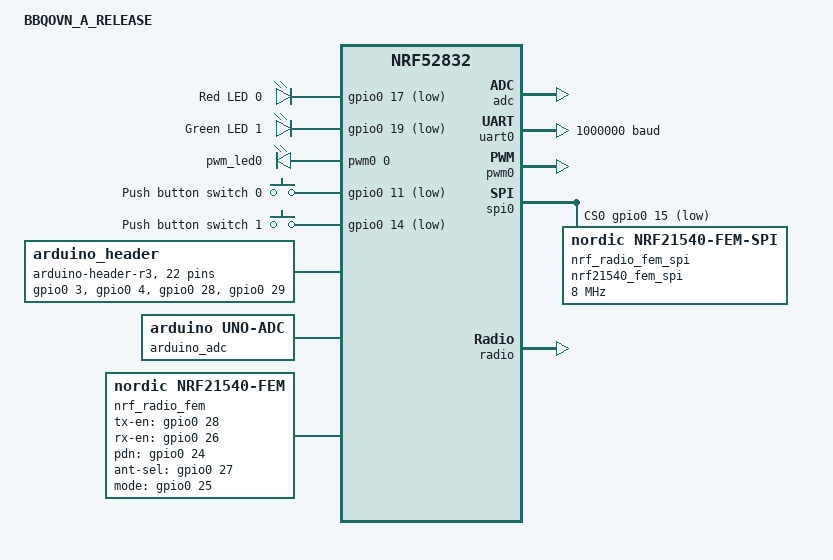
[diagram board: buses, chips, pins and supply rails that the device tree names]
// Copyright (c) 2023 Nordic Semiconductor ASA
// SPDX-License-Identifier: Apache-2.0

/dts-v1/;
#include <nordic/nrf52832_qfaa.dtsi>
#include "bbqovn_a_release-pinctrl.dtsi"

/ {
	model = "BBQOVN_A_RELEASE";
	compatible = "dx-smart,bbqovn-a";

	chosen {
		zephyr,console = &uart0;
		zephyr,shell-uart = &uart0;
		zephyr,uart-mcumgr = &uart0;
		zephyr,bt-mon-uart = &uart0;
		zephyr,bt-c2h-uart = &uart0;
		zephyr,sram = &sram0;
		zephyr,flash = &flash0;
		zephyr,code-partition = &slot0_partition;
	};

	leds {
		compatible = "gpio-leds";
		led0: led_0 {
			gpios = <&gpio0 17 (GPIO_ACTIVE_LOW)>;
			label = "Red LED 0";
		};
		led1: led_1 {
			gpios = <&gpio0 19 (GPIO_ACTIVE_LOW)>;
			label = "Green LED 1";
		};
	};

	pwmleds {
		compatible = "pwm-leds";
		pwm_led0: pwm_led_0 {
			pwms = <&pwm0 0 PWM_USEC(250) PWM_POLARITY_NORMAL>;
		};
	};

	buttons {
		compatible = "gpio-keys";
		button0: button_0 {
			gpios = <&gpio0 11 (GPIO_ACTIVE_LOW)>;
			label = "Push button switch 0";
		};
		button1: button_1 {
			gpios = <&gpio0 14 (GPIO_PULL_UP | GPIO_ACTIVE_LOW)>;
			label = "Push button switch 1";
		};

		wakeup-source;
	};

	arduino_header: connector {
		compatible = "arduino-header-r3";
		#gpio-cells = <2>;
		gpio-map-mask = <0xffffffff 0xffffffc0>;
		gpio-map-pass-thru = <0 0x3f>;
		gpio-map = <0 0 &gpio0 3 0>,
			 <1 0 &gpio0 4 0>,
			 <2 0 &gpio0 28 0>,
			 <3 0 &gpio0 29 0>,
			 <4 0 &gpio0 30 0>,
			 <5 0 &gpio0 31 0>,
			 <6 0 &gpio0 11 0>,
			 <7 0 &gpio0 12 0>,
			 <8 0 &gpio0 13 0>,
			 <9 0 &gpio0 14 0>,
			 <10 0 &gpio0 15 0>,
			 <11 0 &gpio0 16 0>,
			 <12 0 &gpio0 17 0>,
			 <13 0 &gpio0 18 0>,
			 <14 0 &gpio0 19 0>,
			 <15 0 &gpio0 20 0>,
			 <16 0 &gpio0 22 0>,
			 <17 0 &gpio0 23 0>,
			 <18 0 &gpio0 24 0>,
			 <19 0 &gpio0 25 0>,
			 <20 0 &gpio0 26 0>,
			 <21 0 &gpio0 27 0>;	/* D15 */
	};

	arduino_adc: analog-connector {
		compatible = "arduino,uno-adc";
		#io-channel-cells = <1>;
		io-channel-map = <0 &adc 1>, <1 &adc 2>, <2 &adc 4>, <3 &adc 5>, <4 &adc 6>, <5 &adc 7>;	/* A5 = P0.31 = AIN7 */
	};

	nrf_radio_fem: nrf21540_fem {
		compatible = "nordic,nrf21540-fem";
		tx-en-gpios = <&gpio0 28 GPIO_ACTIVE_HIGH>;
		rx-en-gpios = <&gpio0 26 GPIO_ACTIVE_HIGH>;
		pdn-gpios = <&gpio0 24 GPIO_ACTIVE_HIGH>;
		ant-sel-gpios = <&gpio0 27 GPIO_ACTIVE_HIGH>;
		mode-gpios = <&gpio0 25 GPIO_ACTIVE_HIGH>;
		spi-if = <&nrf_radio_fem_spi>;
		supply-voltage-mv = <3000>;
	};

	/* These aliases are provided for compatibility with samples */
	aliases {
		led0 = &led0;
		led1 = &led1;
		pwm-led0 = &pwm_led0;
		sw0 = &button0;
		sw1 = &button1;
		bootloader-led0 = &led0;
		mcuboot-button0 = &button0;
		mcuboot-led0 = &led0;
		watchdog0 = &wdt0;
	};
};

&adc {
	status = "okay";
};

&gpiote {
	status = "okay";
};

&gpio0 {
	status = "okay";
};

arduino_serial: &uart0 {
	compatible = "nordic,nrf-uarte";
	status = "okay";
	current-speed = <1000000>;
	pinctrl-0 = <&uart0_default>;
	pinctrl-1 = <&uart0_sleep>;
	pinctrl-names = "default", "sleep";
};

&pwm0 {
	status = "okay";
	pinctrl-0 = <&pwm0_default>;
	pinctrl-1 = <&pwm0_sleep>;
	pinctrl-names = "default", "sleep";
};

fem_spi: &spi0 {
	status = "okay";
	cs-gpios = <&gpio0 15 GPIO_ACTIVE_LOW>;

	pinctrl-0 = <&spi0_default>;
	pinctrl-1 = <&spi0_sleep>;
	pinctrl-names = "default", "sleep";
	nrf_radio_fem_spi: nrf21540_fem_spi@0 {
		compatible = "nordic,nrf21540-fem-spi";
		status = "okay";
		reg = <0>;
		spi-max-frequency = <8000000>;
	};
};

&radio {
	fem = <&nrf_radio_fem>;
};

&flash0 {

	partitions {
		compatible = "fixed-partitions";
		#address-cells = <1>;
		#size-cells = <1>;

		boot_partition: partition@0 {
			label = "mcuboot";
			reg = <0x00000000 0xc000>;
		};
		slot0_partition: partition@c000 {
			label = "image-0";
			reg = <0x0000C000 0x37000>;
		};
		slot1_partition: partition@43000 {
			label = "image-1";
			reg = <0x00043000 0x37000>;
		};
		storage_partition: partition@7a000 {
			label = "storage";
			reg = <0x0007a000 0x00006000>;
		};
	};
};
